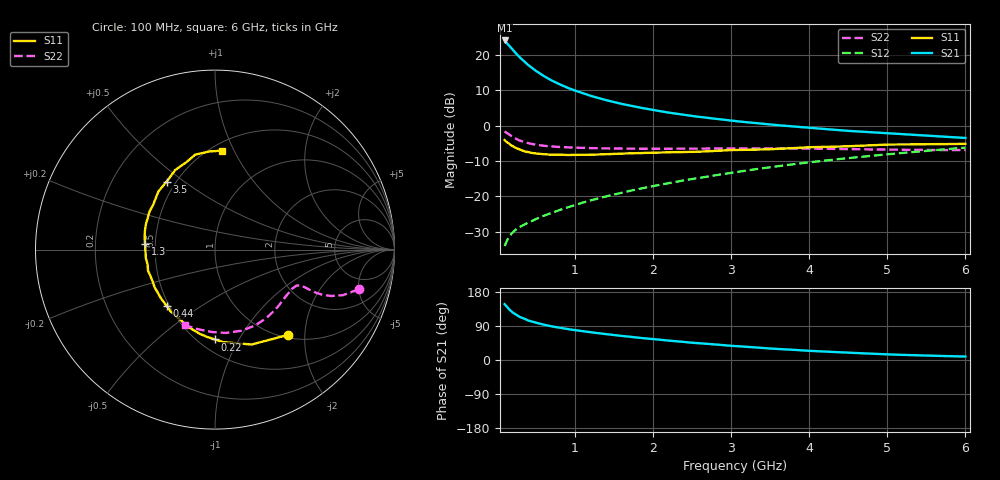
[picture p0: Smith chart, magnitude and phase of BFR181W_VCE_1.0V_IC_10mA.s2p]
! Infineon Technologies  Discrete & RF Semiconductors
! BFR181W
! VCE =  1.0 V,  IC =  10 mA
! Common Emitter S-Parameters:  Nov 2015
# GHz  S  MA  R  50
!  f  S11  S21  S12  S22
! GHz  MAG  ANG  MAG  ANG  MAG  ANG  MAG  ANG
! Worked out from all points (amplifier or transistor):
!   192 points, 100 MHz to 6 GHz, reference 50 ohm
!   highest |S21| = 24.0 dB at 100 MHz (marker M1)
!   |S21| within 3 dB of that: start of sweep to 219.6 MHz
!   unconditionally stable (mu >= 1): 478 MHz to 4.2 GHz
!   at 440 MHz: K = 0.96, MSG = 21.7 dB, |S12| = -27.0 dB
!   at 1.7 GHz: K = 1.33, MAG = 8.6 dB, |S12| = -18.4 dB
!   at 6 GHz: K = 0.97, MSG = 1.4 dB, |S12| = -6.2 dB
!   S11 on the Smith chart (normalised r, x): 100 MHz: 1.06, -1.65; 220 MHz: 0.60, -0.80; 440 MHz: 0.48, -0.37; 1.3 GHz: 0.44, +0.03; 3.5 GHz: 0.45, +0.43; 6 GHz: 0.57, +0.90
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0.1  0.6259 -49.3  15.93 147.3  0.0199 68.1  0.8301 -15.5
0.15  0.567 -68.9  13.79 135.2  0.0264 62.1  0.7569 -19.6
0.2  0.5171 -85.0  11.91 125.8  0.0308 58.2  0.6961 -21.8
0.22  0.5006 -90.0  11.26 123.2  0.0323 57.3  0.6765 -22.2
0.26  0.4771 -100.1  10.07 117.8  0.0351 56.0  0.6403 -22.9
0.3  0.457 -108.4  9.054 113.0  0.0375 55.5  0.6125 -23.1
0.4  0.424 -125.7  7.188 104.3  0.0426 56.0  0.565 -23.0
0.44  0.414 -130.6  6.675 102.1  0.0448 56.6  0.5539 -22.9
0.5  0.4049 -138.2  5.927 98.2  0.0481 57.5  0.5372 -22.7
0.56  0.3984 -144.0  5.383 95.3  0.0513 58.6  0.5263 -22.8
0.7  0.3886 -155.8  4.35 88.8  0.0584 60.9  0.5081 -23.1
0.9  0.3845 -167.9  3.438 81.8  0.0699 63.9  0.494 -24.2
1.1  0.3873 -176.9  2.878 76.1  0.0819 66.2  0.4852 -26.1
1.3  0.3915 175.4  2.46 70.8  0.0941 67.6  0.4792 -28.2
1.6  0.4034 165.8  2.026 63.5  0.1132 69.1  0.4743 -31.8
2.08  0.416 153.4  1.607 53.6  0.1457 70.2  0.4719 -38.6
2.5  0.4252 144.2  1.366 45.5  0.1764 70.3  0.474 -44.8
3.1  0.4535 132.6  1.145 36.1  0.2239 68.6  0.4764 -55.1
3.5  0.4647 125.4  1.036 30.3  0.2589 67.0  0.4781 -62.6
4.1  0.4983 114.8  0.913 23.3  0.3122 63.2  0.4726 -74.1
5.1  0.541 100.0  0.768 14.1  0.4028 55.9  0.457 -94.3
6  0.5529 86.0  0.67 9.2  0.4891 48.1  0.4535 -111.5
